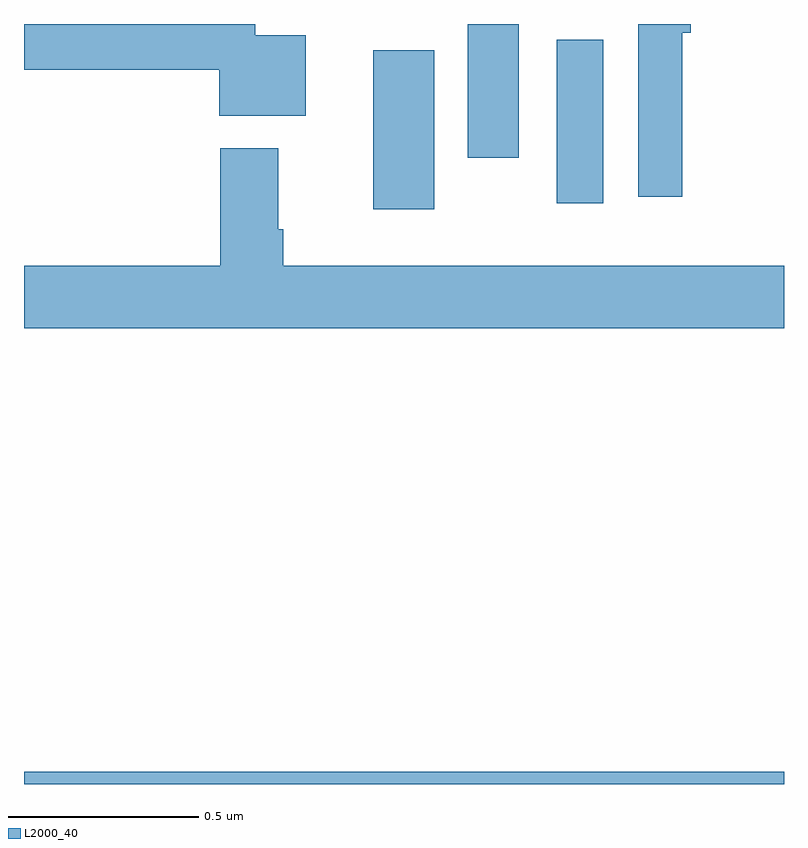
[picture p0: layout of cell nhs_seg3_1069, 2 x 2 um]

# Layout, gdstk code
import gdstk
lib = gdstk.Library(unit=1e-6, precision=1e-09)
def R(c, l, rs):  # rectangles x0, y0, x1, y1
    for r in rs: c.add(gdstk.rectangle(r[:2], r[2:], *l))
def P(c, l, *ps):  # polygons
    for p in ps: c.add(gdstk.Polygon(p, *l))
L2000_40 = (2000, 40)

nhs_seg3_1069 = lib.new_cell('nhs_seg3_1069')
R(nhs_seg3_1069, L2000_40, [(124,682.4,126,682.432), (124.919,683.913,125.08,684.331), (125.402,683.928,125.524,684.358), (125.168,684.048,125.302,684.4)])
P(nhs_seg3_1069, L2000_40, [(125.732,684.377),(125.754,684.377),(125.754,684.4),(125.616,684.4),(125.616,683.946),(125.732,683.946)],
  [(124.741,684.37),(124.608,684.37),(124.608,684.4),(124,684.4),(124,684.28),(124.514,684.28),(124.514,684.158),(124.741,684.158)],
  [(126,683.764),(124.682,683.764),(124.682,683.86),(124.669,683.86),(124.669,684.073),(124.517,684.073),(124.517,683.764),(124,683.764),(124,683.6),(126,683.6)])

lib.write_gds('nhs_seg3_1069.gds')
